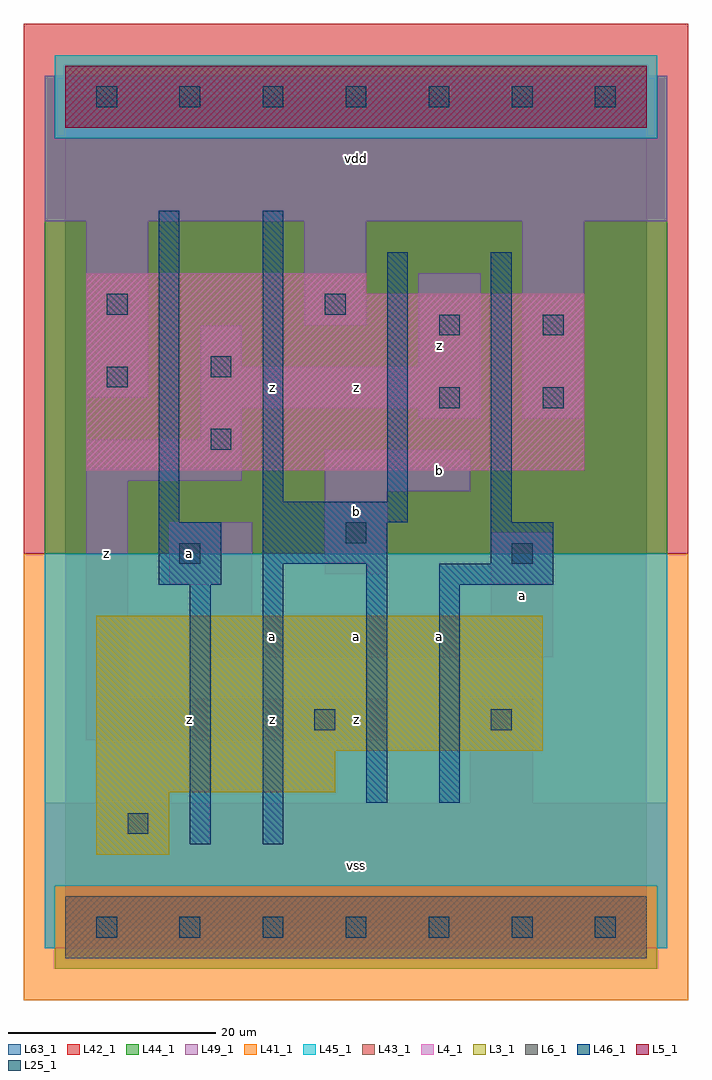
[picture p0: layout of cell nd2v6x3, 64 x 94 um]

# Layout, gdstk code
import gdstk
lib = gdstk.Library(unit=1e-6, precision=1e-09)
def R(c, l, rs):  # rectangles x0, y0, x1, y1
    for r in rs: c.add(gdstk.rectangle(r[:2], r[2:], *l))
def A(c, l, x, y, w, h, nx, ny, dx, dy):  # array of equal rectangles
    R(c, l, [(x+i*dx, y+j*dy, x+i*dx+w, y+j*dy+h) for i in range(nx) for j in range(ny)])
L3_1 = (3, 1)
L4_1 = (4, 1)
L5_1 = (5, 1)
L6_1 = (6, 1)
L25_1 = (25, 1)
L41_1 = (41, 1)
L42_1 = (42, 1)
L43_1 = (43, 1)
L44_1 = (44, 1)
L45_1 = (45, 1)
L46_1 = (46, 1)
L49_1 = (49, 1)
L63_1 = (63, 1)

nd2v6x3 = lib.new_cell('nd2v6x3')
R(nd2v6x3, L3_1, [(3,7,10,13), (3,13,26,17), (3,17,46,30)])
R(nd2v6x3, L4_1, [(2,44,50,61), (2,61,29,63)])
R(nd2v6x3, L5_1, [(0,77,56,83)])
R(nd2v6x3, L6_1, [(0,-3,56,3), (0,-3,56,3)])
A(nd2v6x3, L25_1, 3, -1, 2, 2, 7, 2, 8, 80)
R(nd2v6x3, L25_1, [(6,9,8,11), (24,19,26,21), (41,19,43,21), (11,35,13,37), (43,35,45,37), (27,37,29,39), (14,46,16,48), (36,50,38,52), (46,50,48,52), (4,52,6,54), (14,53,16,55), (36,57,38,59), (46,57,48,59), (4,59,6,61), (25,59,27,61)])
R(nd2v6x3, L41_1, [(-4,-7,60,36)])
R(nd2v6x3, L42_1, [(-4,36,60,87)])
R(nd2v6x3, L43_1, [(0,-3,56,3), (3,7,10,13), (3,13,26,17), (3,17,46,30), (2,44,50,61), (2,61,29,63), (0,77,56,83)])
R(nd2v6x3, L44_1, [(-1,-4,57,4), (-2,36,58,76), (-2,76,-1,82), (57,76,58,82)])
R(nd2v6x3, L45_1, [(-2,-2,-1,4), (57,-2,58,4), (-2,4,58,36), (-1,76,57,84)])
R(nd2v6x3, L46_1, [(12,8,14,33), (19,8,21,35), (29,12,31,35), (36,12,38,33), (9,33,15,39), (36,33,47,35), (19,35,31,39), (41,35,47,39), (9,39,11,69), (19,39,33,41), (41,39,43,65), (19,41,21,69), (31,41,33,65)])
R(nd2v6x3, L49_1, [(-2,-2,58,12), (39,12,45,22), (2,18,31,22), (2,22,6,43), (14,26,47,30), (14,30,18,33), (41,30,47,38), (10,33,18,39), (25,34,31,42), (25,42,39,46), (2,43,17,47), (13,47,17,50), (34,49,40,50), (44,49,50,68), (13,50,40,54), (2,51,8,68), (13,54,17,58), (34,54,40,63), (23,58,29,68), (-2,68,58,82)])
R(nd2v6x3, L63_1, [(0,0,56,80)])
nd2v6x3.add(gdstk.Label('z', (4,36), layer=49, texttype=1))
nd2v6x3.add(gdstk.Label('z', (12,20), layer=49, texttype=1))
nd2v6x3.add(gdstk.Label('a', (12,36), layer=49, texttype=1))
nd2v6x3.add(gdstk.Label('vss', (28,6), layer=49, texttype=1))
nd2v6x3.add(gdstk.Label('z', (20,20), layer=49, texttype=1))
nd2v6x3.add(gdstk.Label('a', (20,28), layer=49, texttype=1))
nd2v6x3.add(gdstk.Label('a', (28,28), layer=49, texttype=1))
nd2v6x3.add(gdstk.Label('z', (28,20), layer=49, texttype=1))
nd2v6x3.add(gdstk.Label('b', (28,40), layer=49, texttype=1))
nd2v6x3.add(gdstk.Label('z', (28,52), layer=49, texttype=1))
nd2v6x3.add(gdstk.Label('z', (20,52), layer=49, texttype=1))
nd2v6x3.add(gdstk.Label('vdd', (28,74), layer=49, texttype=1))
nd2v6x3.add(gdstk.Label('a', (36,28), layer=49, texttype=1))
nd2v6x3.add(gdstk.Label('a', (44,32), layer=49, texttype=1))
nd2v6x3.add(gdstk.Label('b', (36,44), layer=49, texttype=1))
nd2v6x3.add(gdstk.Label('z', (36,56), layer=49, texttype=1))

lib.write_gds('nd2v6x3.gds')
